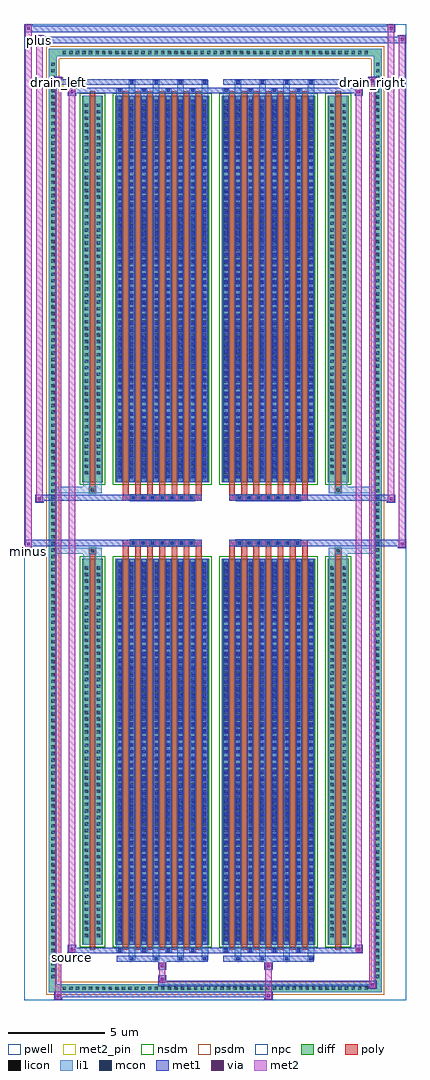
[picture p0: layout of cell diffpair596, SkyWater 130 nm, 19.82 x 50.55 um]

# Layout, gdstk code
import gdstk
lib = gdstk.Library(unit=1e-6, precision=5e-09)
def R(c, l, rs):  # rectangles x0, y0, x1, y1
    for r in rs: c.add(gdstk.rectangle(r[:2], r[2:], *l))
def A(c, l, x, y, w, h, nx, ny, dx, dy):  # array of equal rectangles
    R(c, l, [(x+i*dx, y+j*dy, x+i*dx+w, y+j*dy+h) for i in range(nx) for j in range(ny)])
def P(c, l, *ps):  # polygons
    for p in ps: c.add(gdstk.Polygon(p, *l))
pwell = (64, 44)
diff = (65, 20)
poly = (66, 20)
licon = (66, 44)
li1 = (67, 20)
mcon = (67, 44)
met1 = (68, 20)
via = (68, 44)
met2_pin = (69, 16)
met2 = (69, 20)
nsdm = (93, 44)
psdm = (94, 20)
npc = (95, 20)

diffpair596 = lib.new_cell('diffpair596')
R(diffpair596, pwell, [(-9.89,-24.84,9.89,25.71), (-7.21,-23.03,-0.01,-0.805), (0.01,-23.03,7.21,-0.805), (-7.21,0.805,-0.01,23.03), (0.01,0.805,7.21,23.03)])
A(diffpair596, diff, -8.025, -24.44, 0.41, 0.41, 47, 2, 0.34, 48.47)
A(diffpair596, diff, -8.62, -23.835, 0.41, 0.41, 1, 140, 0, 0.34)
A(diffpair596, diff, 8.21, -23.835, 0.41, 0.41, 1, 140, 0, 0.34)
R(diffpair596, diff, [(-8.025,-24.44,8.025,-24.03), (-8.62,-23.835,-8.21,23.835), (8.21,-23.835,8.62,23.835), (-6.9,-21.985,-5.82,-1.985), (-5.18,-21.985,-0.32,-1.985), (0.32,-21.985,5.18,-1.985), (5.82,-21.985,6.9,-1.985), (-6.9,1.985,-5.82,21.985), (-5.18,1.985,-0.32,21.985), (0.32,1.985,5.18,21.985), (5.82,1.985,6.9,21.985), (-8.025,24.03,8.025,24.44)])
P(diffpair596, diff, [(8.62,24.44),(-8.62,24.44),(-8.62,-24.03),(-8.21,-24.03),(-8.21,24.03),(8.21,24.03),(8.21,-24.03),(-8.21,-24.03),(-8.62,-24.03),(-8.62,-24.44),(8.62,-24.44)])
A(diffpair596, poly, -4.79, -22.235, 0.3, 20.5, 7, 2, 0.63, 23.97)
A(diffpair596, poly, 0.71, -22.235, 0.3, 20.5, 7, 2, 0.63, 23.97)
A(diffpair596, poly, -4.79, -1.735, 0.3, 0.4, 7, 2, 0.63, 3.07)
A(diffpair596, poly, 0.71, -1.735, 0.3, 0.4, 7, 2, 0.63, 3.07)
A(diffpair596, poly, -4.415, -1.335, 0.33, 0.33, 7, 2, 0.5, 2.34)
A(diffpair596, poly, 1.085, -1.335, 0.33, 0.33, 7, 2, 0.5, 2.34)
R(diffpair596, poly, [(-6.51,-22.235,-6.21,-1.735), (6.21,-22.235,6.51,-1.735), (-6.525,-1.735,-6.195,-1.405), (-6.525,-1.735,-6.195,-1.405), (6.195,-1.735,6.525,-1.405), (6.195,-1.735,6.525,-1.405), (-4.79,-1.335,-0.71,-1.005), (0.71,-1.335,4.79,-1.005), (-4.79,1.005,-0.71,1.335), (0.71,1.005,4.79,1.335), (-6.525,1.405,-6.195,1.735), (-6.525,1.405,-6.195,1.735), (6.195,1.405,6.525,1.735), (6.195,1.405,6.525,1.735), (-6.51,1.735,-6.21,22.235), (6.21,1.735,6.51,22.235)])
A(diffpair596, licon, -7.905, -24.32, 0.17, 0.17, 47, 2, 0.34, 48.47)
A(diffpair596, licon, -8.5, -23.715, 0.17, 0.17, 1, 140, 0, 0.34)
A(diffpair596, licon, 8.33, -23.715, 0.17, 0.17, 1, 140, 0, 0.34)
A(diffpair596, licon, -6.76, -21.59, 0.17, 0.17, 1, 57, 0, 0.34)
A(diffpair596, licon, -6.13, -21.59, 0.17, 0.17, 1, 57, 0, 0.34)
A(diffpair596, licon, -5.04, -21.59, 0.17, 0.17, 8, 57, 0.63, 0.34)
A(diffpair596, licon, 0.46, -21.59, 0.17, 0.17, 8, 57, 0.63, 0.34)
A(diffpair596, licon, 5.96, -21.59, 0.17, 0.17, 1, 57, 0, 0.34)
A(diffpair596, licon, 6.59, -21.59, 0.17, 0.17, 1, 57, 0, 0.34)
A(diffpair596, licon, -4.335, -1.255, 0.17, 0.17, 7, 2, 0.5, 2.34)
A(diffpair596, licon, 1.165, -1.255, 0.17, 0.17, 7, 2, 0.5, 2.34)
A(diffpair596, licon, -6.76, 2.38, 0.17, 0.17, 1, 57, 0, 0.34)
A(diffpair596, licon, -6.13, 2.38, 0.17, 0.17, 1, 57, 0, 0.34)
A(diffpair596, licon, -5.04, 2.38, 0.17, 0.17, 8, 57, 0.63, 0.34)
A(diffpair596, licon, 0.46, 2.38, 0.17, 0.17, 8, 57, 0.63, 0.34)
A(diffpair596, licon, 5.96, 2.38, 0.17, 0.17, 1, 57, 0, 0.34)
A(diffpair596, licon, 6.59, 2.38, 0.17, 0.17, 1, 57, 0, 0.34)
R(diffpair596, licon, [(-6.445,-1.655,-6.275,-1.485), (6.275,-1.655,6.445,-1.485), (-6.445,1.485,-6.275,1.655), (6.275,1.485,6.445,1.655)])
A(diffpair596, li1, -7.985, -24.4, 0.33, 0.33, 47, 2, 0.34, 48.47)
A(diffpair596, li1, -8.58, -23.795, 0.33, 0.33, 1, 140, 0, 0.34)
A(diffpair596, li1, 8.25, -23.795, 0.33, 0.33, 1, 140, 0, 0.34)
A(diffpair596, li1, -4.49, -22.79, 0.33, 0.805, 4, 2, 1.26, 44.775)
A(diffpair596, li1, -4.41, -22.79, 0.17, 0.17, 4, 2, 1.26, 45.41)
A(diffpair596, li1, 1.01, -22.79, 0.33, 0.805, 4, 2, 1.26, 44.775)
A(diffpair596, li1, 1.09, -22.79, 0.17, 0.17, 4, 2, 1.26, 45.41)
A(diffpair596, li1, -5.12, -22.36, 0.33, 0.375, 4, 2, 1.26, 44.345)
A(diffpair596, li1, -5.04, -22.36, 0.17, 0.17, 4, 2, 1.26, 44.55)
A(diffpair596, li1, 0.38, -22.36, 0.33, 0.375, 4, 2, 1.26, 44.345)
A(diffpair596, li1, 0.46, -22.36, 0.17, 0.17, 4, 2, 1.26, 44.55)
A(diffpair596, li1, -5.12, -21.985, 0.33, 20, 8, 2, 0.63, 23.97)
A(diffpair596, li1, 0.38, -21.985, 0.33, 20, 8, 2, 0.63, 23.97)
A(diffpair596, li1, -5.04, -21.79, 0.17, 0.17, 8, 55, 0.63, 0.36)
A(diffpair596, li1, -5.04, -21.79, 0.17, 19.61, 8, 2, 0.63, 23.97)
A(diffpair596, li1, 0.46, -21.79, 0.17, 0.17, 8, 55, 0.63, 0.36)
A(diffpair596, li1, 0.46, -21.79, 0.17, 19.61, 8, 2, 0.63, 23.97)
A(diffpair596, li1, -6.84, -21.67, 0.33, 0.33, 1, 57, 0, 0.34)
A(diffpair596, li1, -6.21, -21.67, 0.33, 0.33, 1, 57, 0, 0.34)
A(diffpair596, li1, -5.12, -21.67, 0.33, 0.33, 8, 57, 0.63, 0.34)
A(diffpair596, li1, 0.38, -21.67, 0.33, 0.33, 8, 57, 0.63, 0.34)
A(diffpair596, li1, 5.88, -21.67, 0.33, 0.33, 1, 57, 0, 0.34)
A(diffpair596, li1, 6.51, -21.67, 0.33, 0.33, 1, 57, 0, 0.34)
A(diffpair596, li1, -4.415, -1.335, 0.33, 0.33, 7, 2, 0.5, 2.34)
A(diffpair596, li1, 1.085, -1.335, 0.33, 0.33, 7, 2, 0.5, 2.34)
A(diffpair596, li1, -5.04, 2.18, 0.17, 0.17, 8, 55, 0.63, 0.36)
A(diffpair596, li1, 0.46, 2.18, 0.17, 0.17, 8, 55, 0.63, 0.36)
A(diffpair596, li1, -6.84, 2.3, 0.33, 0.33, 1, 57, 0, 0.34)
A(diffpair596, li1, -6.21, 2.3, 0.33, 0.33, 1, 57, 0, 0.34)
A(diffpair596, li1, -5.12, 2.3, 0.33, 0.33, 8, 57, 0.63, 0.34)
A(diffpair596, li1, 0.38, 2.3, 0.33, 0.33, 8, 57, 0.63, 0.34)
A(diffpair596, li1, 5.88, 2.3, 0.33, 0.33, 1, 57, 0, 0.34)
A(diffpair596, li1, 6.51, 2.3, 0.33, 0.33, 1, 57, 0, 0.34)
R(diffpair596, li1, [(-8.62,-24.44,-8.21,-24.03), (-8.62,-24.44,-8.21,-24.03), (-8.21,-24.44,8.21,-24.03), (8.21,-24.44,8.62,-24.03), (8.21,-24.44,8.62,-24.03), (-8.62,-24.03,-8.21,24.03), (8.21,-24.03,8.62,24.03), (-6.84,-21.985,-6.51,-1.985), (-6.21,-21.985,-5.88,-1.985), (5.88,-21.985,6.21,-1.985), (6.51,-21.985,6.84,-1.985), (-6.84,-1.985,-6.51,-1.405), (-6.21,-1.985,-5.88,-1.405), (5.88,-1.985,6.21,-1.405), (6.51,-1.985,6.84,-1.405), (-8.62,-1.735,-6.525,-1.405), (-6.84,-1.735,-6.525,-1.405), (-6.525,-1.735,-6.195,-1.405), (-6.195,-1.735,-5.88,-1.405), (5.88,-1.735,6.195,-1.405), (6.195,-1.735,6.525,-1.405), (6.195,-1.735,8.62,-1.405), (6.525,-1.735,6.84,-1.405), (-8.62,1.405,-6.525,1.735), (-6.84,1.405,-6.525,1.735), (-6.84,1.405,-6.51,1.985), (-6.525,1.405,-6.195,1.735), (-6.21,1.405,-5.88,1.985), (-6.195,1.405,-5.88,1.735), (5.88,1.405,6.195,1.735), (5.88,1.405,6.21,1.985), (6.195,1.405,6.525,1.735), (6.195,1.405,8.62,1.735), (6.51,1.405,6.84,1.985), (6.525,1.405,6.84,1.735), (-6.84,1.985,-6.51,21.985), (-6.21,1.985,-5.88,21.985), (5.88,1.985,6.21,21.985), (6.51,1.985,6.84,21.985), (-8.62,24.03,-8.21,24.44), (-8.62,24.03,-8.21,24.44), (-8.21,24.03,8.21,24.44), (8.21,24.03,8.62,24.44), (8.21,24.03,8.62,24.44)])
A(diffpair596, mcon, -4.41, -22.79, 0.17, 0.17, 4, 2, 1.26, 45.41)
A(diffpair596, mcon, 1.09, -22.79, 0.17, 0.17, 4, 2, 1.26, 45.41)
A(diffpair596, mcon, -5.04, -22.36, 0.17, 0.17, 4, 2, 1.26, 44.55)
A(diffpair596, mcon, 0.46, -22.36, 0.17, 0.17, 4, 2, 1.26, 44.55)
A(diffpair596, mcon, -5.04, -21.79, 0.17, 0.17, 8, 55, 0.63, 0.36)
A(diffpair596, mcon, 0.46, -21.79, 0.17, 0.17, 8, 55, 0.63, 0.36)
A(diffpair596, mcon, -4.335, -1.255, 0.17, 0.17, 7, 2, 0.5, 2.34)
A(diffpair596, mcon, 1.165, -1.255, 0.17, 0.17, 7, 2, 0.5, 2.34)
A(diffpair596, mcon, -5.04, 2.18, 0.17, 0.17, 8, 55, 0.63, 0.36)
A(diffpair596, mcon, 0.46, 2.18, 0.17, 0.17, 8, 55, 0.63, 0.36)
A(diffpair596, met1, -4.47, -22.85, 0.29, 0.29, 4, 2, 1.26, 45.41)
A(diffpair596, met1, 1.03, -22.85, 0.29, 0.29, 4, 2, 1.26, 45.41)
A(diffpair596, met1, -5.1, -22.42, 0.29, 0.29, 4, 2, 1.26, 44.55)
A(diffpair596, met1, 0.4, -22.42, 0.29, 0.29, 4, 2, 1.26, 44.55)
A(diffpair596, met1, -5.1, -21.985, 0.29, 20, 8, 2, 0.63, 23.97)
A(diffpair596, met1, 0.4, -21.985, 0.29, 20, 8, 2, 0.63, 23.97)
A(diffpair596, met1, -5.1, -21.85, 0.29, 0.29, 8, 55, 0.63, 0.36)
A(diffpair596, met1, 0.4, -21.85, 0.29, 0.29, 8, 55, 0.63, 0.36)
A(diffpair596, met1, -4.395, -1.315, 0.29, 0.29, 7, 2, 0.5, 2.34)
A(diffpair596, met1, 1.105, -1.315, 0.29, 0.29, 7, 2, 0.5, 2.34)
A(diffpair596, met1, -5.1, 2.12, 0.29, 0.29, 8, 55, 0.63, 0.36)
A(diffpair596, met1, 0.4, 2.12, 0.29, 0.29, 8, 55, 0.63, 0.36)
R(diffpair596, met1, [(-8.35,-24.84,-7.92,-24.41), (2.535,-24.84,2.965,-24.41), (-8.35,-24.7,2.965,-24.41), (7.92,-24.27,8.35,-23.84), (-2.965,-24.13,8.35,-23.84), (-2.965,-23.99,-2.535,-23.56), (-2.965,-23.28,-2.535,-22.85), (2.535,-23.28,2.965,-22.85), (-5.1,-22.85,-0.4,-22.56), (0.4,-22.85,5.1,-22.56), (-7.64,-22.42,-7.21,-21.99), (-7.64,-22.42,-5.1,-22.13), (-5.1,-22.42,-0.4,-22.13), (-0.4,-22.42,0.4,-22.13), (0.4,-22.42,5.1,-22.13), (5.1,-22.42,7.64,-22.13), (7.21,-22.42,7.64,-21.99), (-9.89,-1.435,-9.46,-1.005), (9.46,-1.435,9.89,-1.005), (-9.89,-1.335,-0.71,-1.005), (-4.79,-1.335,-0.71,-1.005), (0.71,-1.335,4.79,-1.005), (0.71,-1.335,9.89,-1.005), (-9.32,0.905,-8.89,1.335), (8.89,0.905,9.32,1.335), (-9.32,1.005,-4.79,1.335), (-4.79,1.005,-0.71,1.335), (0.71,1.005,4.79,1.335), (4.79,1.005,9.32,1.335), (-7.64,21.99,-7.21,22.42), (7.21,21.99,7.64,22.42), (-7.64,22.13,-5.1,22.42), (-5.1,22.13,-0.4,22.42), (-0.4,22.13,0.4,22.42), (0.4,22.13,5.1,22.42), (5.1,22.13,7.64,22.42), (-8.35,22.56,-7.92,22.99), (-8.35,22.56,-5.1,22.85), (-5.1,22.56,-0.4,22.85), (0.4,22.56,5.1,22.85), (5.1,22.56,8.35,22.85), (7.92,22.56,8.35,22.99), (-9.32,24.71,-8.89,25.14), (-9.32,24.71,-7.21,25.04), (-7.21,24.71,7.21,25.04), (7.21,24.71,9.89,25.04), (9.46,24.71,9.89,25.14), (-9.89,25.28,-9.46,25.71), (-9.89,25.28,-7.21,25.61), (-7.21,25.28,7.21,25.61), (7.21,25.28,9.32,25.61), (8.89,25.28,9.32,25.71)])
R(diffpair596, via, [(-8.21,-24.7,-8.06,-24.55), (2.675,-24.7,2.825,-24.55), (8.06,-24.13,8.21,-23.98), (-2.825,-23.85,-2.675,-23.7), (-2.825,-23.14,-2.675,-22.99), (2.675,-23.14,2.825,-22.99), (-7.5,-22.28,-7.35,-22.13), (7.35,-22.28,7.5,-22.13), (-9.75,-1.295,-9.6,-1.145), (9.6,-1.295,9.75,-1.145), (-9.18,1.045,-9.03,1.195), (9.03,1.045,9.18,1.195), (-7.5,22.13,-7.35,22.28), (7.35,22.13,7.5,22.28), (-8.21,22.7,-8.06,22.85), (8.06,22.7,8.21,22.85), (-9.18,24.85,-9.03,25), (9.6,24.85,9.75,25), (-9.75,25.42,-9.6,25.57), (9.03,25.42,9.18,25.57)])
R(diffpair596, met2_pin, [(-7.675,-22.87,-7.175,-22.37), (-9.925,-1.885,-9.425,-1.385), (-8.385,22.44,-7.885,22.94), (7.885,22.44,8.385,22.94), (-9.355,24.59,-8.855,25.09)])
R(diffpair596, met2, [(-8.3,-24.79,-7.97,-24.46), (-8.3,-24.79,-7.97,22.94), (2.585,-24.79,2.915,-24.46), (2.585,-24.46,2.915,-23.23), (7.97,-24.22,8.3,-23.89), (7.97,-24.22,8.3,22.94), (-2.915,-23.94,-2.585,-23.61), (-2.915,-23.61,-2.585,-23.23), (-2.915,-23.23,-2.585,-22.9), (2.585,-23.23,2.915,-22.9), (-7.59,-22.37,-7.26,-22.04), (-7.59,-22.37,-7.26,22.37), (7.26,-22.37,7.59,-22.04), (7.26,-22.37,7.59,22.37), (-9.84,-1.385,-9.51,-1.055), (-9.84,-1.385,-9.51,25.66), (9.51,-1.385,9.84,-1.055), (9.51,-1.385,9.84,25.09), (-9.27,0.955,-8.94,1.285), (-9.27,0.955,-8.94,25.09), (8.94,0.955,9.27,1.285), (8.94,0.955,9.27,25.66), (-7.59,22.04,-7.26,22.37), (7.26,22.04,7.59,22.37), (-8.3,22.61,-7.97,22.94), (7.97,22.61,8.3,22.94), (-9.27,24.76,-8.94,25.09), (9.51,24.76,9.84,25.09), (-9.84,25.33,-9.51,25.66), (8.94,25.33,9.27,25.66)])
P(diffpair596, met2, [(9.84,-1.385),(9.84,-1.385),(9.84,-1.055),(9.84,-1.055)],
  [(9.84,24.76),(9.84,24.76),(9.84,25.09),(9.84,25.09)],
  [(-9.51,-1.385),(-9.51,-1.385),(-9.51,-1.055),(-9.51,-1.055)],
  [(-9.51,25.33),(-9.51,25.33),(-9.51,25.66),(-9.51,25.66)],
  [(9.27,0.955),(9.27,0.955),(9.27,1.285),(9.27,1.285)],
  [(9.27,25.33),(9.27,25.33),(9.27,25.66),(9.27,25.66)],
  [(-8.94,0.955),(-8.94,0.955),(-8.94,1.285),(-8.94,1.285)],
  [(-8.94,24.76),(-8.94,24.76),(-8.94,25.09),(-8.94,25.09)],
  [(-7.97,-24.79),(-7.97,-24.79),(-7.97,-24.46),(-7.97,-24.46)],
  [(-7.97,22.61),(-7.97,22.61),(-7.97,22.94),(-7.97,22.94)],
  [(8.3,-24.22),(8.3,-24.22),(8.3,-23.89),(8.3,-23.89)],
  [(8.3,22.61),(8.3,22.61),(8.3,22.94),(8.3,22.94)],
  [(-7.26,-22.37),(-7.26,-22.37),(-7.26,-22.04),(-7.26,-22.04)],
  [(-7.26,22.04),(-7.26,22.04),(-7.26,22.37),(-7.26,22.37)],
  [(7.59,-22.37),(7.59,-22.37),(7.59,-22.04),(7.59,-22.04)],
  [(7.59,22.04),(7.59,22.04),(7.59,22.37),(7.59,22.37)])
R(diffpair596, nsdm, [(-7.03,-22.115,-5.69,-1.855), (-5.31,-22.115,-0.19,-1.855), (0.19,-22.115,5.31,-1.855), (5.69,-22.115,7.03,-1.855), (-7.03,1.855,-5.69,22.115), (-5.31,1.855,-0.19,22.115), (0.19,1.855,5.31,22.115), (5.69,1.855,7.03,22.115)])
P(diffpair596, psdm, [(8.75,24.57),(-8.75,24.57),(-8.75,-23.9),(-8.08,-23.9),(-8.08,23.9),(8.08,23.9),(8.08,-23.9),(-8.08,-23.9),(-8.75,-23.9),(-8.75,-24.57),(8.75,-24.57)])
A(diffpair596, npc, -4.435, -1.355, 0.37, 0.37, 7, 2, 0.5, 2.34)
A(diffpair596, npc, 1.065, -1.355, 0.37, 0.37, 7, 2, 0.5, 2.34)
R(diffpair596, npc, [(-6.545,-1.755,-6.175,-1.385), (6.175,-1.755,6.545,-1.385), (-4.435,-1.355,-3.565,-0.985), (-4.435,-1.355,-3.565,-0.985), (-3.935,-1.355,-3.065,-0.985), (-3.935,-1.355,-3.065,-0.985), (-3.435,-1.355,-2.565,-0.985), (-3.435,-1.355,-2.565,-0.985), (-2.935,-1.355,-2.065,-0.985), (-2.935,-1.355,-2.065,-0.985), (-2.435,-1.355,-1.565,-0.985), (-2.435,-1.355,-1.565,-0.985), (-1.935,-1.355,-1.065,-0.985), (-1.935,-1.355,-1.065,-0.985), (1.065,-1.355,1.935,-0.985), (1.065,-1.355,1.935,-0.985), (1.565,-1.355,2.435,-0.985), (1.565,-1.355,2.435,-0.985), (2.065,-1.355,2.935,-0.985), (2.065,-1.355,2.935,-0.985), (2.565,-1.355,3.435,-0.985), (2.565,-1.355,3.435,-0.985), (3.065,-1.355,3.935,-0.985), (3.065,-1.355,3.935,-0.985), (3.565,-1.355,4.435,-0.985), (3.565,-1.355,4.435,-0.985), (-4.435,0.985,-3.565,1.355), (-4.435,0.985,-3.565,1.355), (-3.935,0.985,-3.065,1.355), (-3.935,0.985,-3.065,1.355), (-3.435,0.985,-2.565,1.355), (-3.435,0.985,-2.565,1.355), (-2.935,0.985,-2.065,1.355), (-2.935,0.985,-2.065,1.355), (-2.435,0.985,-1.565,1.355), (-2.435,0.985,-1.565,1.355), (-1.935,0.985,-1.065,1.355), (-1.935,0.985,-1.065,1.355), (1.065,0.985,1.935,1.355), (1.065,0.985,1.935,1.355), (1.565,0.985,2.435,1.355), (1.565,0.985,2.435,1.355), (2.065,0.985,2.935,1.355), (2.065,0.985,2.935,1.355), (2.565,0.985,3.435,1.355), (2.565,0.985,3.435,1.355), (3.065,0.985,3.935,1.355), (3.065,0.985,3.935,1.355), (3.565,0.985,4.435,1.355), (3.565,0.985,4.435,1.355), (-6.545,1.385,-6.175,1.755), (6.175,1.385,6.545,1.755)])
diffpair596.add(gdstk.Label('minus', (-9.675,-1.635), layer=69, texttype=5))
diffpair596.add(gdstk.Label('drain_right', (8.135,22.69), layer=69, texttype=5))
diffpair596.add(gdstk.Label('drain_left', (-8.135,22.69), layer=69, texttype=5))
diffpair596.add(gdstk.Label('source', (-7.425,-22.62), layer=69, texttype=5))
diffpair596.add(gdstk.Label('plus', (-9.105,24.84), layer=69, texttype=5))

lib.write_gds('diffpair596.gds')
